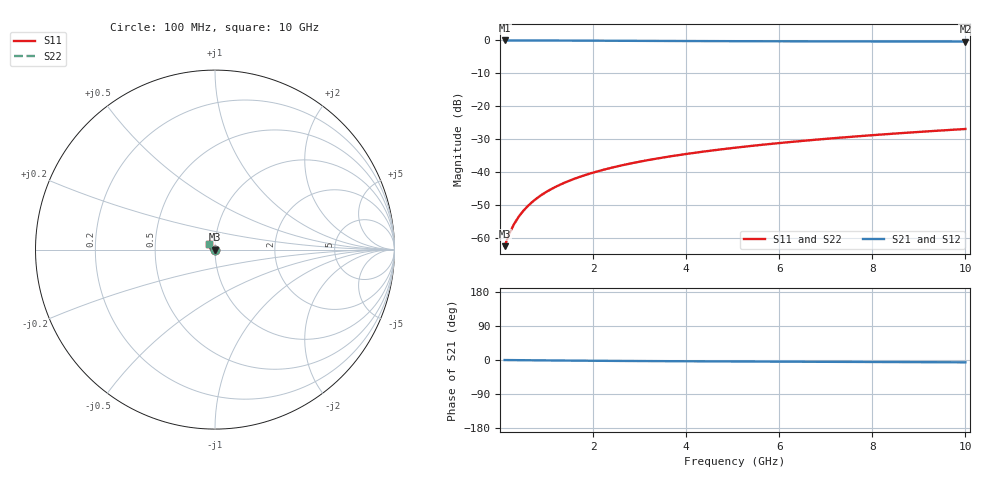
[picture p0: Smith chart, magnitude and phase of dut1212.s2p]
! Touchstone file exported from HFSS 2024.1.0
!  File:  C:/UserFiles/LocalFiles/RDL_TSV_Batchsim/temp_TSV1_1212_1780248596.aedt
!  Generated:  01:39:49 AM Jun  1, 2026
!  Design:  TSV1
!  Project:  temp_TSV1_1212_1780248596
!  Setup:  Setup1
!  Solution:  Sweep
! Variables:
!  dtsv = 5.18um
!  hbump = 3um
!  htsv = 89.34um
!  lrdl = 252.1521522um
!  p = 40
!  p1 = 53.1um
!  t = 500um
!  trdl = 3um
!  wrdl = 24.89489489um
# GHz S MA R 50.000000
! Terminal data exported
! Port[1] = TSV22_T1
! Port[2] = TSV22_T2
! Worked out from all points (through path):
!   100 points, 100 MHz to 10 GHz, reference 50 ohm
!   highest |S21| = -0.01 dB at 100 MHz (marker M1); lowest = -0.3 dB at 10 GHz (marker M2)
!   lowest |S11| = -62.6 dB at 100 MHz (marker M3), VSWR 1.00, Z = 50.1 - j0.0512 ohm
!   |S11| at or under -10 dB: start of sweep to end of sweep
!   |S22| runs from -62.6 to -27.0 dB; largest |S21 - S12| = 2.3e-15
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0.1  0.0007389 -43.8  0.9994 -0.1  0.9994 -0.1  0.0007389 -43.8
! Gamma 0 0 0 0
! Port Impedance 50 0 50 0
0.2  0.001135 -65.6  0.9993 -0.2  0.9993 -0.2  0.001135 -65.6
0.3  0.001588 -77.2  0.9992 -0.3  0.9992 -0.3  0.001588 -77.2
0.4  0.002061 -84.7  0.999 -0.4  0.999 -0.4  0.002061 -84.7
0.5  0.002542 -90.4  0.9988 -0.5  0.9988 -0.5  0.002542 -90.4
0.6  0.003026 -95.1  0.9986 -0.7  0.9986 -0.7  0.003026 -95.1
0.7  0.003512 -99.3  0.9983 -0.8  0.9983 -0.8  0.003512 -99.3
0.9  0.004483 -106.5  0.9976 -1.0  0.9976 -1.0  0.004483 -106.5
1  0.004968 -109.7  0.9971 -1.1  0.9971 -1.1  0.004967 -109.7
1.2  0.005932 -115.8  0.9962 -1.3  0.9962 -1.3  0.005932 -115.8
1.5  0.007367 -124.2  0.9946 -1.6  0.9946 -1.6  0.007367 -124.2
1.8  0.008783 -131.9  0.9929 -1.8  0.9929 -1.8  0.008782 -131.9
2.1  0.01018 -139.1  0.991 -2.1  0.991 -2.1  0.01018 -139.1
2.5  0.01201 -147.9  0.9884 -2.4  0.9884 -2.4  0.01201 -147.9
2.9  0.01382 -156.0  0.9858 -2.7  0.9858 -2.7  0.01382 -156.0
3.4  0.01605 -165.1  0.9828 -3.0  0.9828 -3.0  0.01605 -165.1
4.2  0.01957 -177.6  0.9783 -3.4  0.9783 -3.4  0.01957 -177.6
5.1  0.02349 170.7  0.9741 -3.9  0.9741 -3.9  0.02349 170.7
5.9  0.02697 162.1  0.971 -4.3  0.971 -4.3  0.02697 162.1
6.7  0.03045 154.9  0.9685 -4.7  0.9685 -4.7  0.03045 154.9
8.4  0.03787 142.6  0.9643 -5.4  0.9643 -5.4  0.03787 142.6
10  0.04488 134.0  0.9614 -6.1  0.9614 -6.1  0.04488 134.0
